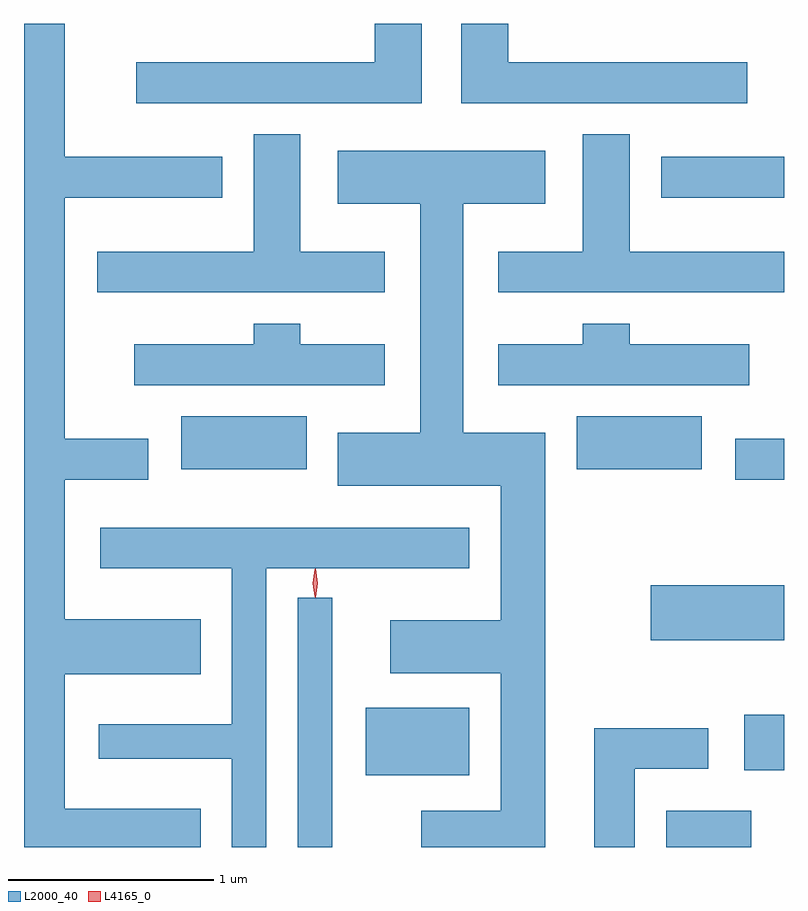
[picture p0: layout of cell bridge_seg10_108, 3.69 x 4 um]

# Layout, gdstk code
import gdstk
lib = gdstk.Library(unit=1e-6, precision=1e-09)
def R(c, l, rs):  # rectangles x0, y0, x1, y1
    for r in rs: c.add(gdstk.rectangle(r[:2], r[2:], *l))
def P(c, l, *ps):  # polygons
    for p in ps: c.add(gdstk.Polygon(p, *l))
L2000_40 = (2000, 40)
L4165_0 = (4165, 0)

bridge_seg10_108 = lib.new_cell('bridge_seg10_108')
R(bridge_seg10_108, L2000_40, [(1627.041,2140.961,1627.209,2142.173), (1628.831,2140.961,1629.244,2141.139), (1627.371,2141.311,1627.874,2141.639), (1629.211,2141.336,1629.403,2141.604), (1628.756,2141.966,1629.403,2142.234), (1629.166,2142.746,1629.403,2142.944), (1626.476,2142.796,1627.084,2143.054), (1628.396,2142.796,1629.004,2143.054), (1628.806,2144.116,1629.403,2144.314)])
P(bridge_seg10_108, L2000_40, [(1626.569,2141.149),(1625.909,2141.149),(1625.909,2141.801),(1626.569,2141.801),(1626.569,2142.069),(1625.909,2142.069),(1625.909,2142.746),(1626.314,2142.746),(1626.314,2142.944),(1625.909,2142.944),(1625.909,2144.116),(1626.674,2144.116),(1626.674,2144.314),(1625.909,2144.314),(1625.909,2144.961),(1625.711,2144.961),(1625.711,2140.961),(1626.569,2140.961)],
  [(1629.224,2144.774),(1628.064,2144.774),(1628.064,2144.961),(1627.836,2144.961),(1627.836,2144.576),(1629.224,2144.576)],
  [(1627.644,2144.961),(1627.416,2144.961),(1627.416,2144.774),(1626.256,2144.774),(1626.256,2144.576),(1627.644,2144.576)],
  [(1629.403,2143.854),(1628.654,2143.854),(1628.654,2144.424),(1628.426,2144.424),(1628.426,2143.854),(1628.016,2143.854),(1628.016,2143.656),(1629.403,2143.656)],
  [(1627.464,2143.854),(1627.054,2143.854),(1627.054,2144.424),(1626.826,2144.424),(1626.826,2143.854),(1626.066,2143.854),(1626.066,2143.656),(1627.464,2143.656)],
  [(1628.244,2142.974),(1627.844,2142.974),(1627.844,2144.086),(1628.244,2144.086),(1628.244,2144.344),(1627.236,2144.344),(1627.236,2144.086),(1627.636,2144.086),(1627.636,2142.974),(1627.236,2142.974),(1627.236,2142.716),(1628.026,2142.716),(1628.026,2142.064),(1627.491,2142.064),(1627.491,2141.806),(1628.026,2141.806),(1628.026,2141.139),(1627.641,2141.139),(1627.641,2140.961),(1628.244,2140.961)],
  [(1629.234,2143.404),(1628.654,2143.404),(1628.654,2143.504),(1628.426,2143.504),(1628.426,2143.404),(1628.016,2143.404),(1628.016,2143.206),(1629.234,2143.206)],
  [(1627.464,2143.404),(1627.054,2143.404),(1627.054,2143.504),(1626.826,2143.504),(1626.826,2143.404),(1626.246,2143.404),(1626.246,2143.206),(1627.464,2143.206)],
  [(1626.889,2142.316),(1627.874,2142.316),(1627.874,2142.514),(1626.081,2142.514),(1626.081,2142.316),(1626.721,2142.316),(1626.721,2141.559),(1626.073,2141.559),(1626.073,2141.391),(1626.721,2141.391),(1626.721,2140.961),(1626.889,2140.961)],
  [(1628.679,2141.341),(1629.034,2141.341),(1629.034,2141.539),(1628.481,2141.539),(1628.481,2140.961),(1628.679,2140.961)])
P(bridge_seg10_108, L4165_0, [(1627.128,2142.174),(1627.127,2142.175),(1627.118,2142.244),(1627.127,2142.313),(1627.128,2142.314),(1627.128,2142.313),(1627.138,2142.244),(1627.128,2142.175)],
  [(1627.123,2142.178),(1627.114,2142.244),(1627.123,2142.311),(1627.124,2142.311),(1627.124,2142.311),(1627.134,2142.244),(1627.124,2142.178),(1627.124,2142.178)])

lib.write_gds('bridge_seg10_108.gds')
